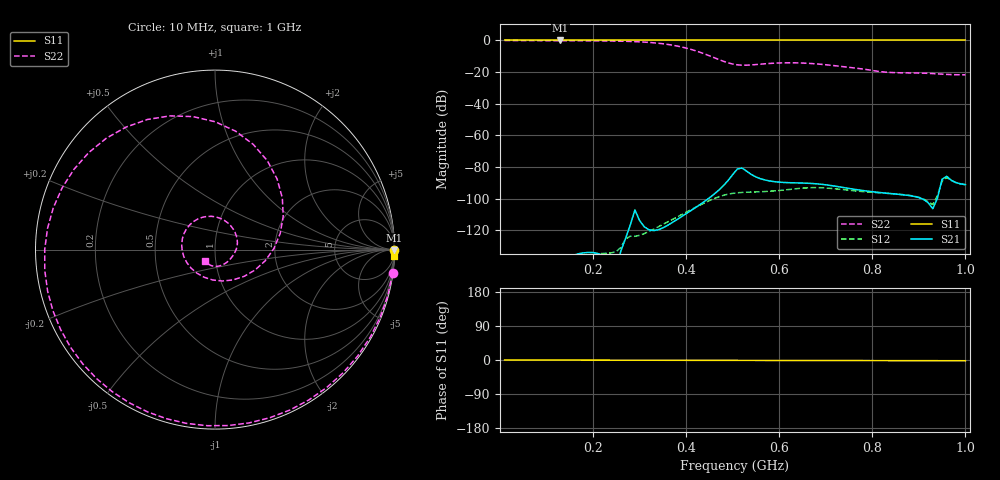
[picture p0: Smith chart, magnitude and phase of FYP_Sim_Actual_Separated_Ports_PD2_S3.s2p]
! Touchstone file from project FYP_Sim_Actual_Separated_Ports
! Exported from HFSS 13.0.2
# GHZ S MA R 50.000000
! Terminal data exported
! Port[1] = PD2_Incision_Port_T1
! Port[2] = Radiating_Plate_T1
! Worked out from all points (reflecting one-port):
!   100 points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, 10 MHz to 1 GHz, reference 50 ohm
!   lowest |S11| = 0.0 dB at 130 MHz (marker M1)
!   phase of S11 starts at -0 deg and turns -2 deg over the sweep
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0.01  1 -0.0  1.688e-10 131.8  1.686e-10 131.8  0.9983 -7.5
0.04  1 -0.1  1.107e-09 30.4  1.107e-09 30.4  0.9931 -29.5
0.07  1 -0.1  4.167e-09 -58.6  4.167e-09 -58.6  0.9888 -51.0
0.1  1 -0.2  9.193e-09 -137.6  9.193e-09 -137.7  0.9852 -72.0
0.13  1 -0.3  9.682e-08 -152.4  7.22e-08 -86.3  0.9821 -92.5
0.18  1 -0.4  1.949e-07 -150.7  1.571e-07 -116.4  0.977 -125.9
0.22  1 -0.4  1.641e-07 -148.9  1.856e-07 -160.8  0.9687 -152.5
0.26  1 -0.5  2.276e-07 -12.2  2.92e-07 62.4  0.9487 179.9
0.3  1 -0.6  2.044e-06 -172.6  6.96e-07 179.0  0.9042 150.4
0.34  1 -0.7  1.04e-06 114.0  1.29e-06 122.8  0.8169 117.5
0.36  1 -0.7  1.433e-06 88.7  1.836e-06 105.0  0.7511 99.4
0.38  1 -0.7  2.176e-06 72.6  2.618e-06 89.1  0.6695 80.1
0.4  1 -0.8  3.356e-06 61.5  3.73e-06 73.5  0.5747 59.5
0.42  1 -0.8  5.22e-06 52.6  5.296e-06 56.9  0.4732 37.6
0.44  1 -0.9  8.303e-06 44.3  7.433e-06 37.9  0.374 13.8
0.47  1 -0.9  1.856e-05 29.3  1.147e-05 3.5  0.2505 -27.0
0.51  1 -1.0  8.638e-05 -36.1  1.535e-05 -47.9  0.1698 -94.2
0.58  1 -1.1  3.624e-05 -157.5  1.724e-05 -120.5  0.1879 171.2
0.67  1 -1.3  3.029e-05 134.2  2.233e-05 141.0  0.1862 95.5
0.75  1 -1.5  2.11e-05 64.2  1.849e-05 57.5  0.1413 32.5
0.84  1 -1.7  1.448e-05 16.1  1.446e-05 10.9  0.09734 -42.9
1  1 -2.0  2.777e-05 -48.3  2.778e-05 -64.3  0.08233 -131.9
